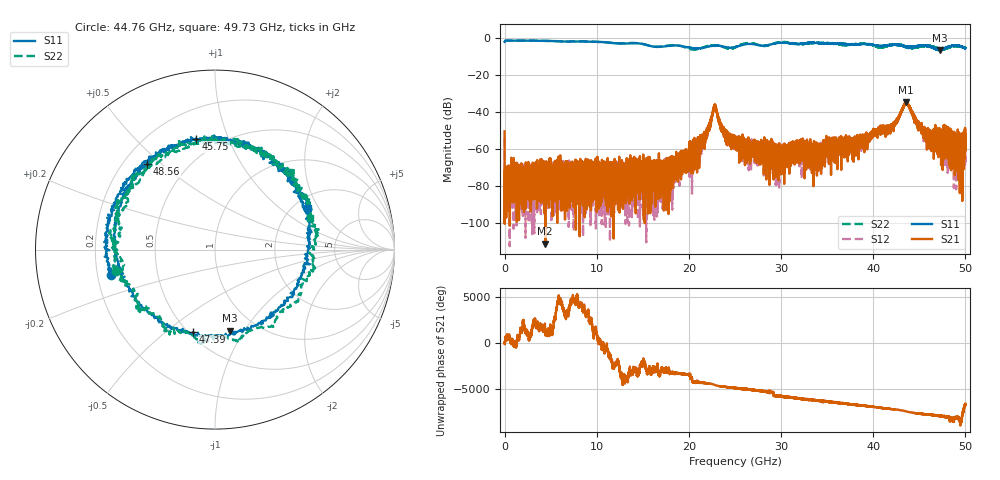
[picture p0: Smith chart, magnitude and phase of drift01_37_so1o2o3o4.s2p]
!Created with skrf (http://scikit-rf.org).
# Hz S RI R 50.0
!freq ReS11 ImS11 ReS21 ImS21 ReS12 ImS12 ReS22 ImS22
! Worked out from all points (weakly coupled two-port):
!   10001 points, 300 kHz to 50 GHz, reference 50 ohm
!   highest |S21| = -34.68 dB at 43.56 GHz (marker M1); lowest = -111.2 dB at 4.415 GHz (marker M2)
!   lowest |S11| = -6.8 dB at 47.21 GHz (marker M3), VSWR 2.70, Z = 37.6 - j43.1 ohm
!   |S11| at or under -10 dB: nowhere
!   |S22| runs from -6.4 to -1.4 dB; largest |S21 - S12| = 0.0049
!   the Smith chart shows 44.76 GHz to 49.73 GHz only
!   S11 on the Smith chart (normalised r, x): 44.76 GHz: 0.26, -0.11; 45.75 GHz: 0.38, +0.77; 47.39 GHz: 0.53, -0.63; 48.56 GHz: 0.30, +0.45; 49.73 GHz: 2.38, +1.64
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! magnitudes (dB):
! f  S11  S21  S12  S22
! 300 kHz  -2.1  -50.5  -54.3  -2.1
! 255.3 MHz  -1.4  -77.4  -78.4  -1.4
! 4.415 GHz  -1.6  -111.2  -72.3  -1.6
! 8.335 GHz  -2.0  -81.8  -73.8  -1.8
! 16.67 GHz  -4.8  -68.9  -74.0  -4.8
! 17.7 GHz  -4.4  -65.8  -67.7  -4.1
! 20.95 GHz  -5.6  -57.7  -59.2  -6.2
! 21.99 GHz  -4.8  -52.1  -52.0  -4.4
! 22.8 GHz  -4.3  -36.2  -36.3  -4.0
! 23.77 GHz  -4.7  -50.3  -50.5  -5.0
! 25 GHz  -5.0  -54.9  -56.4  -5.1
! 29.66 GHz  -2.7  -61.5  -66.7  -2.5
! 33.34 GHz  -2.6  -66.1  -62.2  -2.7
! 41.67 GHz  -3.9  -50.3  -49.1  -4.3
! 43.56 GHz  -4.9  -34.7  -35.0  -4.7
! 44.76 GHz  -4.5  -46.3  -46.0  -4.9
! 45.75 GHz  -4.1  -50.2  -51.8  -4.4
! 47.21 GHz  -6.8  -53.1  -56.0  -5.8
! 47.39 GHz  -6.4  -57.7  -56.5  -6.0
! 48.56 GHz  -4.3  -59.0  -60.1  -4.5
! 49.73 GHz  -4.9  -61.6  -55.0  -5.1
! 50 GHz  -5.5  -55.2  -54.3  -5.2
